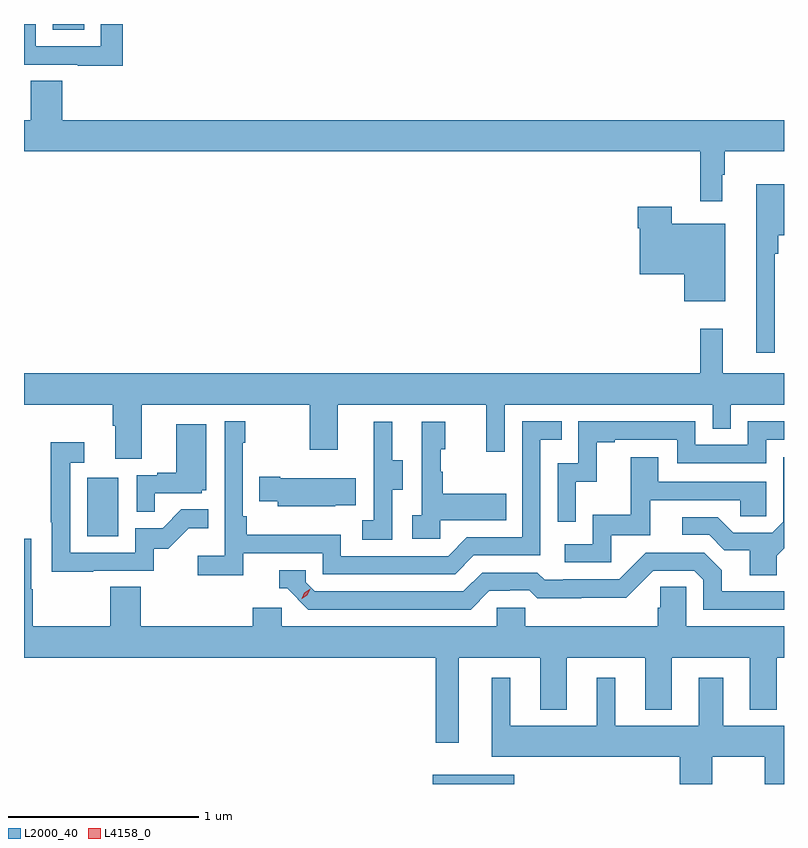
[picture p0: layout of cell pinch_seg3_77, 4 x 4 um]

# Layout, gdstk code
import gdstk
lib = gdstk.Library(unit=1e-6, precision=1e-09)
def R(c, l, rs):  # rectangles x0, y0, x1, y1
    for r in rs: c.add(gdstk.rectangle(r[:2], r[2:], *l))
def P(c, l, *ps):  # polygons
    for p in ps: c.add(gdstk.Polygon(p, *l))
L2000_40 = (2000, 40)
L4158_0 = (4158, 0)

pinch_seg3_77 = lib.new_cell('pinch_seg3_77')
R(pinch_seg3_77, L2000_40, [(1042.484,729.555,1042.915,729.604), (1040.666,730.86,1040.83,731.167), (1040.486,733.524,1040.65,733.555)])
P(pinch_seg3_77, L2000_40, [(1040.855,733.555),(1040.739,733.555),(1040.739,733.437),(1040.397,733.437),(1040.397,733.555),(1040.334,733.555),(1040.334,733.341),(1040.617,733.341),(1040.617,733.336),(1040.855,733.336)],
  [(1044.01,732.761),(1044.022,732.761),(1044.022,732.884),(1044.334,732.884),(1044.334,733.048),(1040.534,733.048),(1040.534,733.256),(1040.369,733.256),(1040.369,733.048),(1040.334,733.048),(1040.334,732.884),(1043.893,732.884),(1043.893,732.621),(1044.01,732.621)],
  [(1044.285,732.347),(1044.305,732.347),(1044.305,732.443),(1044.334,732.443),(1044.334,732.712),(1044.188,732.712),(1044.188,731.826),(1044.285,731.826)],
  [(1044.025,732.505),(1043.742,732.505),(1043.742,732.592),(1043.564,732.592),(1043.564,732.479),(1043.576,732.479),(1043.576,732.239),(1043.81,732.239),(1043.81,732.095),(1044.025,732.095)],
  [(1040.953,731.552),(1041.838,731.552),(1041.838,731.313),(1041.985,731.313),(1041.985,731.552),(1042.766,731.552),(1042.766,731.304),(1042.863,731.304),(1042.863,731.552),(1043.958,731.552),(1043.958,731.425),(1044.054,731.425),(1044.054,731.552),(1044.334,731.552),(1044.334,731.716),(1044.011,731.716),(1044.011,731.95),(1043.893,731.95),(1043.893,731.716),(1040.334,731.716),(1040.334,731.552),(1040.801,731.552),(1040.801,731.44),(1040.813,731.44),(1040.813,731.266),(1040.953,731.266)],
  [(1041.488,730.77),(1041.906,730.77),(1041.906,730.659),(1042.603,730.659),(1042.702,730.758),(1043.052,730.758),(1043.052,731.367),(1043.165,731.367),(1043.165,731.463),(1042.956,731.463),(1042.956,730.854),(1042.665,730.854),(1042.566,730.755),(1042.002,730.755),(1042.002,730.867),(1041.506,730.867),(1041.506,730.963),(1041.486,730.963),(1041.486,731.351),(1041.499,731.351),(1041.499,731.464),(1041.39,731.464),(1041.39,730.756),(1041.249,730.756),(1041.249,730.654),(1041.488,730.654)],
  [(1043.238,731.147),(1043.348,731.147),(1043.348,731.355),(1043.443,731.355),(1043.443,731.367),(1043.772,731.367),(1043.772,731.244),(1044.24,731.244),(1044.24,731.367),(1044.334,731.367),(1044.334,731.463),(1044.144,731.463),(1044.144,731.34),(1043.868,731.34),(1043.868,731.463),(1043.25,731.463),(1043.25,731.244),(1043.142,731.244),(1043.142,730.935),(1043.238,730.935)],
  [(1042.524,730.943),(1042.871,730.943),(1042.871,731.083),(1042.537,731.083),(1042.537,731.198),(1042.527,731.198),(1042.527,731.316),(1042.552,731.316),(1042.552,731.461),(1042.428,731.461),(1042.428,730.97),(1042.377,730.97),(1042.377,730.845),(1042.524,730.845)],
  [(1042.272,731.104),(1042.327,731.104),(1042.327,731.259),(1042.273,731.259),(1042.273,731.461),(1042.175,731.461),(1042.175,731.247),(1042.176,731.247),(1042.176,730.943),(1042.113,730.943),(1042.113,730.84),(1042.272,730.84)],
  [(1041.023,731.085),(1041.27,731.085),(1041.27,731.1),(1041.292,731.1),(1041.292,731.449),(1041.134,731.449),(1041.134,731.194),(1041.035,731.194),(1041.035,731.181),(1040.928,731.181),(1040.928,730.987),(1041.023,730.987)],
  [(1040.699,730.677),(1041.018,730.677),(1041.018,730.794),(1041.094,730.794),(1041.201,730.901),(1041.305,730.901),(1041.305,731),(1041.161,731),(1041.063,730.902),(1040.919,730.902),(1040.919,730.773),(1040.577,730.773),(1040.577,731.247),(1040.65,731.247),(1040.65,731.353),(1040.476,731.353),(1040.476,730.933),(1040.481,730.933),(1040.481,730.672),(1040.699,730.672)],
  [(1043.424,730.863),(1043.629,730.863),(1043.629,731.049),(1044.103,731.049),(1044.103,730.965),(1044.24,730.965),(1044.24,731.145),(1043.671,731.145),(1043.671,731.275),(1043.527,731.275),(1043.527,730.972),(1043.328,730.972),(1043.328,730.818),(1043.18,730.818),(1043.18,730.722),(1043.424,730.722)],
  [(1044.295,730.756),(1044.334,730.795),(1044.334,731.275),(1044.33,731.275),(1044.33,730.935),(1044.273,730.878),(1044.067,730.878),(1043.986,730.959),(1043.799,730.959),(1043.799,730.866),(1043.94,730.866),(1044.02,730.786),(1044.155,730.786),(1044.155,730.654),(1044.295,730.654)],
  [(1041.971,731.021),(1042.079,731.021),(1042.079,731.164),(1041.682,731.164),(1041.682,731.172),(1041.571,731.172),(1041.571,731.042),(1041.669,731.042),(1041.669,731.018),(1041.971,731.018)],
  [(1041.69,730.482),(1041.539,730.482),(1041.539,730.384),(1040.948,730.384),(1040.948,730.592),(1040.788,730.592),(1040.788,730.384),(1040.379,730.384),(1040.379,730.58),(1040.371,730.58),(1040.371,730.846),(1040.334,730.846),(1040.334,730.22),(1042.5,730.22),(1042.5,729.771),(1042.621,729.771),(1042.621,730.22),(1043.051,730.22),(1043.051,729.947),(1043.191,729.947),(1043.191,730.22),(1043.603,730.22),(1043.603,729.947),(1043.743,729.947),(1043.743,730.22),(1044.155,730.22),(1044.155,729.947),(1044.295,729.947),(1044.295,730.22),(1044.334,730.22),(1044.334,730.384),(1043.82,730.384),(1043.82,730.592),(1043.683,730.592),(1043.683,730.482),(1043.669,730.482),(1043.669,730.384),(1042.971,730.384),(1042.971,730.482),(1042.821,730.482),(1042.821,730.384),(1041.69,730.384)],
  [(1042.783,730.572),(1042.89,730.572),(1042.89,730.575),(1042.993,730.575),(1043.035,730.533),(1043.268,730.533),(1043.268,730.535),(1043.504,730.535),(1043.646,730.677),(1043.862,730.677),(1043.91,730.629),(1043.91,730.473),(1044.334,730.473),(1044.334,730.569),(1044.007,730.569),(1044.007,730.679),(1043.913,730.773),(1043.607,730.773),(1043.466,730.632),(1043.173,730.632),(1043.173,730.629),(1043.074,730.629),(1043.035,730.668),(1042.746,730.668),(1042.647,730.569),(1041.864,730.569),(1041.816,730.617),(1041.816,730.68),(1041.677,730.68),(1041.677,730.584),(1041.72,730.584),(1041.831,730.473),(1042.684,730.473)],
  [(1043.956,729.698),(1044.233,729.698),(1044.233,729.555),(1044.334,729.555),(1044.334,729.862),(1044.013,729.862),(1044.013,730.114),(1043.885,730.114),(1043.885,729.862),(1043.446,729.862),(1043.446,730.114),(1043.348,730.114),(1043.348,729.862),(1042.894,729.862),(1042.894,730.114),(1042.796,730.114),(1042.796,729.698),(1043.786,729.698),(1043.786,729.555),(1043.956,729.555)])
P(pinch_seg3_77, L4158_0, [(1041.795,730.529),(1041.795,730.529),(1041.81,730.562),(1041.84,730.582),(1041.841,730.582),(1041.841,730.582),(1041.825,730.549),(1041.795,730.529)])

lib.write_gds('pinch_seg3_77.gds')
